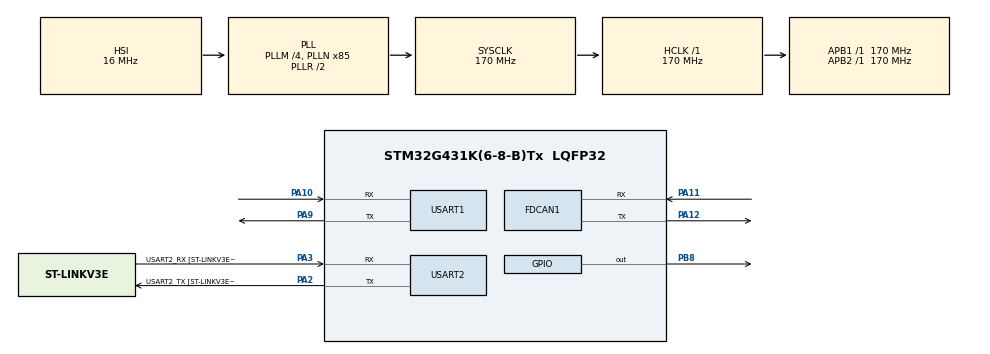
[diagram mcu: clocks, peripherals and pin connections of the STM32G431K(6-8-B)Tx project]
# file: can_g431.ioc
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FDCAN1.AutoRetransmission=ENABLE
FDCAN1.CalculateBaudRateNominal=500000
FDCAN1.CalculateTimeBitNominal=2000
FDCAN1.CalculateTimeQuantumNominal=117.6470588235294
FDCAN1.ClockDivider=FDCAN_CLOCK_DIV10
FDCAN1.Mode=FDCAN_MODE_EXTERNAL_LOOPBACK
FDCAN1.NominalPrescaler=2
FDCAN1.NominalTimeSeg1=6
FDCAN1.NominalTimeSeg2=10
Mcu.Family=STM32G4
Mcu.Name=STM32G431K(6-8-B)Tx
Mcu.Package=LQFP32
NUCLEO-G431KB.LD2=true
NVIC.FDCAN1_IT0_IRQn=true\:0\:0\:false\:false\:true\:true\:true\:true
NVIC.PriorityGroup=NVIC_PRIORITYGROUP_4
PA10.Mode=Asynchronous
PA10.Signal=USART1_RX
PA11.Mode=FDCAN_Activate
PA11.Signal=FDCAN1_RX
PA12.Mode=FDCAN_Activate
PA12.Signal=FDCAN1_TX
PA13.GPIO_Label=T_SWDIO
PA13.Signal=SYS_JTMS-SWDIO
PA14.GPIO_Label=T_SWCLK
PA14.Signal=SYS_JTCK-SWCLK
PA2.GPIO_Label=USART2_TX [ST-LINKV3E_VCP_RX]
PA2.Mode=Asynchronous
PA2.Signal=USART2_TX
PA3.GPIO_Label=USART2_RX [ST-LINKV3E_VCP_TX]
PA3.Mode=Asynchronous
PA3.Signal=USART2_RX
PA9.Mode=Asynchronous
PA9.Signal=USART1_TX
PB3.GPIO_Label=T_SWO
PB3.Signal=SYS_JTDO-SWO
PB8-BOOT0.Signal=GPIO_Output
ProjectManager.HeapSize=0x200
ProjectManager.StackSize=0x400
ProjectManager.TargetToolchain=STM32CubeIDE
RCC.ADC12Freq_Value=170000000
RCC.AHBFreq_Value=170000000
RCC.APB1Freq_Value=170000000
RCC.APB1TimFreq_Value=170000000
RCC.APB2Freq_Value=170000000
RCC.APB2TimFreq_Value=170000000
RCC.CortexFreq_Value=170000000
RCC.EXTERNAL_CLOCK_VALUE=12288000
RCC.HCLKFreq_Value=170000000
RCC.HSE_VALUE=8000000
RCC.HSI48_VALUE=48000000
RCC.HSI_VALUE=16000000
RCC.LSE_VALUE=32768
RCC.PLLM=RCC_PLLM_DIV4
RCC.PLLN=85
RCC.SYSCLKFreq_VALUE=170000000
RCC.SYSCLKSource=RCC_SYSCLKSOURCE_PLLCLK
RCC.USBFreq_Value=170000000
RCC.VCOOutputFreq_Value=340000000
USART1.VirtualMode-Asynchronous=VM_ASYNC
USART2.VirtualMode-Asynchronous=VM_ASYNC
VP_NUCLEO-G431KB_VS_BSP_COMMON.Mode=COMMON
VP_SYS_VS_DBSignals.Mode=DisableDeadBatterySignals
board=NUCLEO-G431KB

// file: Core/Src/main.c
/* USER CODE BEGIN Header */
/**
  ******************************************************************************
  * @file           : main.c
  * @brief          : Main program body
  ******************************************************************************
  * @attention
  *
  * Copyright (c) 2025 STMicroelectronics.
  * All rights reserved.
  *
  * This software is licensed under terms that can be found in the LICENSE file
  * in the root directory of this software component.
  * If no LICENSE file comes with this software, it is provided AS-IS.
  *
  ******************************************************************************
  */
/* USER CODE END Header */
#include "main.h"

FDCAN_HandleTypeDef hfdcan1;

UART_HandleTypeDef huart1;
UART_HandleTypeDef huart2;

/* USER CODE BEGIN PV */
FDCAN_TxHeaderTypeDef Txheader;
FDCAN_RxHeaderTypeDef Rxheader;

uint32_t TxMailbox;
uint8_t TxData[8];
uint8_t RxData[8];
int indx=0;
uint8_t count=0;

/*void HAL_FDCAN_RxFifo0MsgPendingCallback(FDCAN_HandleTypeDef *hcan)
{
	if((RxFifo0ITs & FDCAN_IT_RX_FIFO0_NEW_MESSAGE)!= RESET){
		if(HAL_FDCAN_GetRxMessage(hfdcan1, FDCAN_RX_FIFO0, &Rxheader, RxData)!=HAL_OK){
			  HAL_UART_Transmit(&huart2, (uint8_t*)"Message Received!\n", 18, HAL_MAX_DELAY);
			Error_Handler();
		}
	}
	  if(HAL_FDCAN_ActivateNotification(&hfdcan1,FDCAN_IT_RX_FIFO0_NEW_MESSAGE,0)!= HAL_OK){
		  Error_Handler();
	  }\

    // Transmit a simple message to UART2 when a message is received

    // Create a buffer to hold the formatted hex string
    char hexBuffer[24];  // Adjust the size as needed

    // Format the received data into a hex string
    int len = 0;
    for (int i = 0; i < Rxheader.DataLength; i++) {
        len += sprintf(&hexBuffer[len], "%02X ", RxData[i]);
    }

    // Now transmit the hex string over UART
    HAL_UART_Transmit(&huart2, (uint8_t*)hexBuffer, len, HAL_MAX_DELAY);
}*/

void HAL_FDCAN_RxFifo0Callback(FDCAN_HandleTypeDef *hfdcan, uint32_t RxFifo0ITs)
{
  if((RxFifo0ITs & FDCAN_IT_RX_FIFO0_NEW_MESSAGE) != RESET)
  {
    /* Retreive Rx messages from RX FIFO0 */
    if (HAL_FDCAN_GetRxMessage(hfdcan, FDCAN_RX_FIFO0, &Rxheader, RxData) != HAL_OK)
    {
    /* Reception Error */
    Error_Handler();
	  HAL_UART_Transmit(&huart2, (uint8_t*)"Message Received!\n", 18, HAL_MAX_DELAY);
    }
    if(Rxheader.Identifier==0x101){
    // Create a buffer to hold the formatted hex string
    char hexBuffer[24];  // Adjust the size as needed

    // Format the received data into a hex string
    int len = 0;
    for (int i = 0; i < Rxheader.DataLength; i++) {
        len += sprintf(&hexBuffer[len], "%02X ", RxData[i]);
    }

    // Now transmit the hex string over UART
    HAL_UART_Transmit(&huart2, (uint8_t*)hexBuffer, len, HAL_MAX_DELAY);

    /*if (HAL_FDCAN_ActivateNotification(hfdcan, FDCAN_IT_RX_FIFO0_NEW_MESSAGE, 0) != HAL_OK)
    {
      /* Notification Error */
      //Error_Handler();  }
}
}
}

/* USER CODE END PV */

void SystemClock_Config(void);
static void MX_GPIO_Init(void);
static void MX_FDCAN1_Init(void);
static void MX_USART1_UART_Init(void);
static void MX_USART2_UART_Init(void);

int main(void)
{

  /* MCU Configuration--------------------------------------------------------*/

  /* Reset of all peripherals, Initializes the Flash interface and the Systick. */
  HAL_Init();

  /* Configure the system clock */
  SystemClock_Config();

  /* Initialize all configured peripherals */
  MX_GPIO_Init();
  MX_FDCAN1_Init();
  MX_USART1_UART_Init();
  MX_USART2_UART_Init();
  /* USER CODE BEGIN 2 */
  if(HAL_FDCAN_Start(&hfdcan1)!=HAL_OK){
	  Error_Handler();
  }

  if(HAL_FDCAN_ActivateNotification(&hfdcan1,FDCAN_IT_RX_FIFO0_NEW_MESSAGE,0)!= HAL_OK){
	  Error_Handler();
  }

  /*Txheader.BitRateSwitch=FDCAN_BRS_OFF;
  Txheader.DataLength=FDCAN_DLC_BYTES_8;
  Txheader.ErrorStateIndicator=FDCAN_ESI_ACTIVE;
  Txheader.FDFormat=FDCAN_CLASSIC_CAN;
  Txheader.IdType= FDCAN_STANDARD_ID;
  Txheader.Identifier=0x103;
  Txheader.MessageMarker=0;
  Txheader.TxEventFifoControl= FDCAN_NO_TX_EVENTS ;
  Txheader.TxFrameType=FDCAN_DATA_FRAME;*/

  Txheader.BitRateSwitch = FDCAN_BRS_OFF;
  Txheader.DataLength = FDCAN_DLC_BYTES_8;  // If you're only sending 1 byte
  Txheader.ErrorStateIndicator = FDCAN_ESI_ACTIVE;
  Txheader.FDFormat = FDCAN_CLASSIC_CAN;   // Make sure this is set appropriately
  Txheader.IdType = FDCAN_STANDARD_ID;
  Txheader.Identifier = 0x01;              // Check that this is a valid ID for your use case
  Txheader.MessageMarker = 0;
  Txheader.TxEventFifoControl = FDCAN_NO_TX_EVENTS;
  Txheader.TxFrameType = FDCAN_DATA_FRAME;  // Ensure you're using a data frame

  /* USER CODE END 2 */

  /* Initialize leds */
  BSP_LED_Init(LED_GREEN);

  /* Infinite loop */
  while (1)
  {
	  for(int i=0;i<12;i++){
		  TxData[i]=indx++;
	  }
	  if(HAL_FDCAN_AddMessageToTxFifoQ(&hfdcan1,&Txheader,TxData)!= HAL_OK){
		  Error_Handler();
	  }
	  HAL_Delay(1000);
  }
}

void SystemClock_Config(void)
{
  RCC_OscInitTypeDef RCC_OscInitStruct = {0};
  RCC_ClkInitTypeDef RCC_ClkInitStruct = {0};

  /** Configure the main internal regulator output voltage
  */
  HAL_PWREx_ControlVoltageScaling(PWR_REGULATOR_VOLTAGE_SCALE1_BOOST);

  /** Initializes the RCC Oscillators according to the specified parameters
  * in the RCC_OscInitTypeDef structure.
  */
  RCC_OscInitStruct.OscillatorType = RCC_OSCILLATORTYPE_HSI;
  RCC_OscInitStruct.HSIState = RCC_HSI_ON;
  RCC_OscInitStruct.HSICalibrationValue = RCC_HSICALIBRATION_DEFAULT;
  RCC_OscInitStruct.PLL.PLLState = RCC_PLL_ON;
  RCC_OscInitStruct.PLL.PLLSource = RCC_PLLSOURCE_HSI;
  RCC_OscInitStruct.PLL.PLLM = RCC_PLLM_DIV4;
  RCC_OscInitStruct.PLL.PLLN = 85;
  RCC_OscInitStruct.PLL.PLLP = RCC_PLLP_DIV2;
  RCC_OscInitStruct.PLL.PLLQ = RCC_PLLQ_DIV2;
  RCC_OscInitStruct.PLL.PLLR = RCC_PLLR_DIV2;
  if (HAL_RCC_OscConfig(&RCC_OscInitStruct) != HAL_OK)
  {
    Error_Handler();
  }

  /** Initializes the CPU, AHB and APB buses clocks
  */
  RCC_ClkInitStruct.ClockType = RCC_CLOCKTYPE_HCLK|RCC_CLOCKTYPE_SYSCLK
                              |RCC_CLOCKTYPE_PCLK1|RCC_CLOCKTYPE_PCLK2;
  RCC_ClkInitStruct.SYSCLKSource = RCC_SYSCLKSOURCE_PLLCLK;
  RCC_ClkInitStruct.AHBCLKDivider = RCC_SYSCLK_DIV1;
  RCC_ClkInitStruct.APB1CLKDivider = RCC_HCLK_DIV1;
  RCC_ClkInitStruct.APB2CLKDivider = RCC_HCLK_DIV1;

  if (HAL_RCC_ClockConfig(&RCC_ClkInitStruct, FLASH_LATENCY_4) != HAL_OK)
  {
    Error_Handler();
  }
}

static void MX_FDCAN1_Init(void)
{

  hfdcan1.Instance = FDCAN1;
  hfdcan1.Init.ClockDivider = FDCAN_CLOCK_DIV10;
  hfdcan1.Init.FrameFormat = FDCAN_FRAME_CLASSIC;
  hfdcan1.Init.Mode = FDCAN_MODE_EXTERNAL_LOOPBACK;
  hfdcan1.Init.AutoRetransmission = ENABLE;
  hfdcan1.Init.TransmitPause = DISABLE;
  hfdcan1.Init.ProtocolException = DISABLE;
  hfdcan1.Init.NominalPrescaler = 2;
  hfdcan1.Init.NominalSyncJumpWidth = 1;
  hfdcan1.Init.NominalTimeSeg1 = 6;
  hfdcan1.Init.NominalTimeSeg2 = 10;
  hfdcan1.Init.DataPrescaler = 1;
  hfdcan1.Init.DataSyncJumpWidth = 1;
  hfdcan1.Init.DataTimeSeg1 = 1;
  hfdcan1.Init.DataTimeSeg2 = 1;
  hfdcan1.Init.StdFiltersNbr = 0;
  hfdcan1.Init.ExtFiltersNbr = 0;
  hfdcan1.Init.TxFifoQueueMode = FDCAN_TX_FIFO_OPERATION;
  if (HAL_FDCAN_Init(&hfdcan1) != HAL_OK)
  {
    Error_Handler();
  }
  /* USER CODE BEGIN FDCAN1_Init 2 */
  FDCAN_FilterTypeDef filterConfig;
  filterConfig.IdType = FDCAN_STANDARD_ID;
  filterConfig.FilterIndex = 0;
  filterConfig.FilterType = FDCAN_FILTER_DUAL;
  filterConfig.FilterConfig = FDCAN_FILTER_TO_RXFIFO0;
  filterConfig.FilterID1 = 0x101;  // Use the identifier you're expecting
  filterConfig.FilterID2 = 0x101;  // Ensure the second filter ID matches as well

  if (HAL_FDCAN_ConfigFilter(&hfdcan1, &filterConfig) != HAL_OK) {
      Error_Handler();
  }

  /* USER CODE END FDCAN1_Init 2 */

}

static void MX_USART1_UART_Init(void)
{

  huart1.Instance = USART1;
  huart1.Init.BaudRate = 115200;
  huart1.Init.WordLength = UART_WORDLENGTH_8B;
  huart1.Init.StopBits = UART_STOPBITS_1;
  huart1.Init.Parity = UART_PARITY_NONE;
  huart1.Init.Mode = UART_MODE_TX_RX;
  huart1.Init.HwFlowCtl = UART_HWCONTROL_NONE;
  huart1.Init.OverSampling = UART_OVERSAMPLING_16;
  huart1.Init.OneBitSampling = UART_ONE_BIT_SAMPLE_DISABLE;
  huart1.Init.ClockPrescaler = UART_PRESCALER_DIV1;
  huart1.AdvancedInit.AdvFeatureInit = UART_ADVFEATURE_NO_INIT;
  if (HAL_UART_Init(&huart1) != HAL_OK)
  {
    Error_Handler();
  }
  if (HAL_UARTEx_SetTxFifoThreshold(&huart1, UART_TXFIFO_THRESHOLD_1_8) != HAL_OK)
  {
    Error_Handler();
  }
  if (HAL_UARTEx_SetRxFifoThreshold(&huart1, UART_RXFIFO_THRESHOLD_1_8) != HAL_OK)
  {
    Error_Handler();
  }
  if (HAL_UARTEx_DisableFifoMode(&huart1) != HAL_OK)
  {
    Error_Handler();
  }

}

static void MX_USART2_UART_Init(void)
{

  huart2.Instance = USART2;
  huart2.Init.BaudRate = 115200;
  huart2.Init.WordLength = UART_WORDLENGTH_8B;
  huart2.Init.StopBits = UART_STOPBITS_1;
  huart2.Init.Parity = UART_PARITY_NONE;
  huart2.Init.Mode = UART_MODE_TX_RX;
  huart2.Init.HwFlowCtl = UART_HWCONTROL_NONE;
  huart2.Init.OverSampling = UART_OVERSAMPLING_16;
  huart2.Init.OneBitSampling = UART_ONE_BIT_SAMPLE_DISABLE;
  huart2.Init.ClockPrescaler = UART_PRESCALER_DIV1;
  huart2.AdvancedInit.AdvFeatureInit = UART_ADVFEATURE_NO_INIT;
  if (HAL_UART_Init(&huart2) != HAL_OK)
  {
    Error_Handler();
  }
  if (HAL_UARTEx_SetTxFifoThreshold(&huart2, UART_TXFIFO_THRESHOLD_1_8) != HAL_OK)
  {
    Error_Handler();
  }
  if (HAL_UARTEx_SetRxFifoThreshold(&huart2, UART_RXFIFO_THRESHOLD_1_8) != HAL_OK)
  {
    Error_Handler();
  }
  if (HAL_UARTEx_DisableFifoMode(&huart2) != HAL_OK)
  {
    Error_Handler();
  }

}

static void MX_GPIO_Init(void)
{

  /* GPIO Ports Clock Enable */
  __HAL_RCC_GPIOA_CLK_ENABLE();
  __HAL_RCC_GPIOB_CLK_ENABLE();

}

/* USER CODE BEGIN Header */
/**
  ******************************************************************************
  * @file           : main.c
  * @brief          : Main program body
  ******************************************************************************
  * @attention
  *
  * Copyright (c) 2025 STMicroelectronics.
  * All rights reserved.
  *
  * This software is licensed under terms that can be found in the LICENSE file
  * in the root directory of this software component.
  * If no LICENSE file comes with this software, it is provided AS-IS.
  *
  ******************************************************************************
  */
/* USER CODE END Header */

void Error_Handler(void)
{
  __disable_irq();
  while (1)
  {
  }
}
